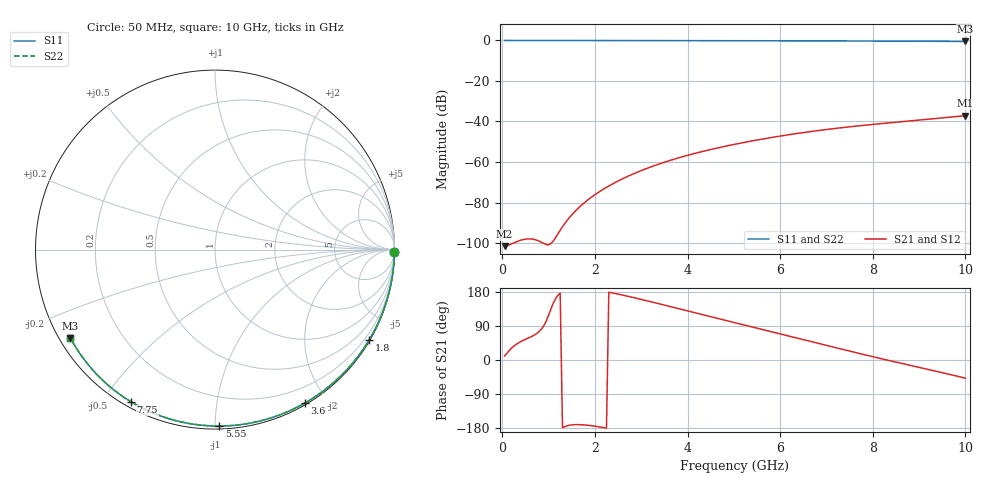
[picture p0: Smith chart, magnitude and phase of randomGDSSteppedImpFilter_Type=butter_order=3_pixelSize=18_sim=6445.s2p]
! freq	dB(S11)	phase(S11)	dB(S12)	phase(S12)
!  dB(S21)	phase(S21)	dB(S22)	phase(S22)
!S-par simulation data
#  GHz  S  DB  R 50
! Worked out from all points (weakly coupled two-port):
!   200 points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, 50 MHz to 10 GHz, reference 50 ohm
!   highest |S21| = -37.11 dB at 10 GHz (marker M1); lowest = -101.6 dB at 50 MHz (marker M2)
!   lowest |S11| = -0.5 dB at 10 GHz (marker M3), VSWR 34.71, Z = 1.55 - j14.1 ohm
!   |S11| at or under -10 dB: nowhere
!   |S22| runs from -0.5 to 0.0 dB; largest |S21 - S12| = 0
!   S11 on the Smith chart (normalised r, x): 50 MHz: open; 1.8 GHz: 0.03, -3.66; 3.6 GHz: 0.02, -1.75; 5.55 GHz: 0.02, -1.02; 7.75 GHz: 0.02, -0.59; 10 GHz: 0.03, -0.28
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0.05  -0.00 -0.9  -101.56 10.6  -101.56 10.6  -0.00 -0.9
0.45  -0.01 -7.8  -98.31 51.8  -98.31 51.8  -0.01 -7.8
0.85  -0.02 -14.6  -99.67 82.3  -99.67 82.3  -0.02 -14.6
1.3  -0.03 -22.2  -91.96 -178.8  -91.96 -178.8  -0.03 -22.2
1.75  -0.04 -29.7  -80.53 -171.1  -80.53 -171.1  -0.04 -29.7
1.8  -0.04 -30.5  -79.57 -171.6  -79.57 -171.6  -0.04 -30.5
1.95  -0.04 -33.0  -76.95 -173.8  -76.95 -173.8  -0.04 -33.0
2.1  -0.05 -35.5  -74.63 -176.6  -74.63 -176.6  -0.05 -35.5
2.3  -0.05 -38.8  -71.85 178.9  -71.85 178.9  -0.05 -38.8
2.5  -0.05 -42.0  -69.39 173.9  -69.39 173.9  -0.05 -42.0
2.9  -0.06 -48.5  -65.17 162.8  -65.17 162.8  -0.06 -48.5
3.4  -0.08 -56.4  -60.88 148.0  -60.88 148.0  -0.08 -56.4
3.6  -0.08 -59.5  -59.39 141.9  -59.39 141.9  -0.08 -59.5
4.3  -0.10 -70.3  -54.94 120.5  -54.94 120.5  -0.10 -70.2
5.05  -0.13 -81.4  -51.11 97.6  -51.11 97.6  -0.13 -81.4
5.55  -0.15 -88.6  -48.94 82.4  -48.94 82.4  -0.15 -88.6
6.1  -0.17 -96.4  -46.84 65.7  -46.84 65.7  -0.17 -96.4
6.7  -0.20 -104.7  -44.84 47.5  -44.84 47.5  -0.20 -104.7
7.75  -0.28 -118.9  -42.02 16.0  -42.02 16.0  -0.28 -118.8
8.35  -0.33 -126.8  -40.68 -1.3  -40.68 -1.3  -0.33 -126.8
9.2  -0.41 -138.0  -38.90 -25.0  -38.90 -25.0  -0.41 -138.0
10  -0.50 -148.6  -37.11 -48.0  -37.11 -48.0  -0.50 -148.5
